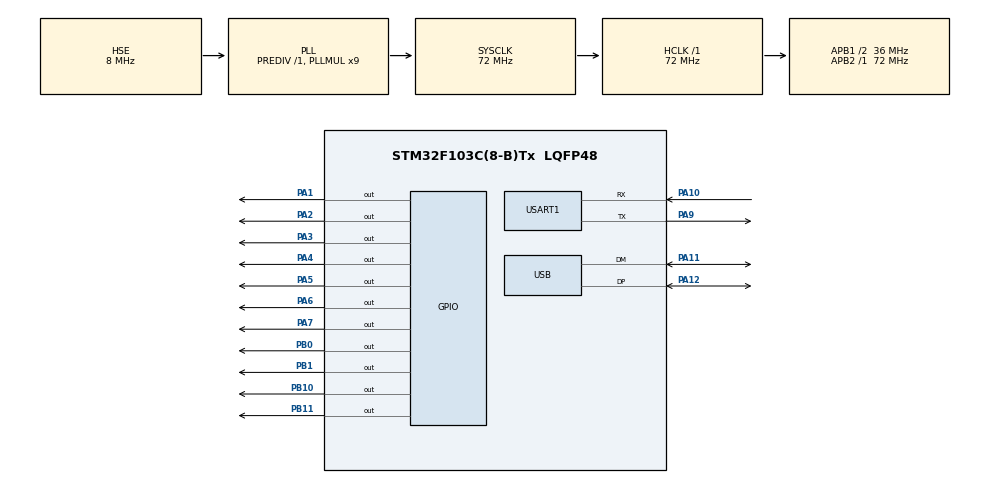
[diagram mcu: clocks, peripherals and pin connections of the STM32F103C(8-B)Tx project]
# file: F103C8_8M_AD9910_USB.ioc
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Mcu.Family=STM32F1
Mcu.Name=STM32F103C(8-B)Tx
Mcu.Package=LQFP48
NVIC.PriorityGroup=NVIC_PRIORITYGROUP_4
NVIC.USART1_IRQn=true\:0\:0\:false\:false\:true\:true\:true
NVIC.USB_LP_CAN1_RX0_IRQn=true\:0\:0\:false\:false\:true\:false\:true
PA1.GPIO_ModeDefaultOutputPP=GPIO_MODE_OUTPUT_PP
PA1.GPIO_PuPd=GPIO_PULLUP
PA1.GPIO_Speed=GPIO_SPEED_FREQ_HIGH
PA1.PinState=GPIO_PIN_RESET
PA1.Signal=GPIO_Output
PA10.Mode=Asynchronous
PA10.Signal=USART1_RX
PA11.Mode=Device
PA11.Signal=USB_DM
PA12.Mode=Device
PA12.Signal=USB_DP
PA13.Mode=Serial_Wire
PA13.Signal=SYS_JTMS-SWDIO
PA14.Mode=Serial_Wire
PA14.Signal=SYS_JTCK-SWCLK
PA2.GPIO_ModeDefaultOutputPP=GPIO_MODE_OUTPUT_PP
PA2.GPIO_PuPd=GPIO_PULLUP
PA2.GPIO_Speed=GPIO_SPEED_FREQ_HIGH
PA2.PinState=GPIO_PIN_RESET
PA2.Signal=GPIO_Output
PA3.GPIO_ModeDefaultOutputPP=GPIO_MODE_OUTPUT_PP
PA3.GPIO_PuPd=GPIO_PULLUP
PA3.GPIO_Speed=GPIO_SPEED_FREQ_HIGH
PA3.PinState=GPIO_PIN_RESET
PA3.Signal=GPIO_Output
PA4.GPIO_ModeDefaultOutputPP=GPIO_MODE_OUTPUT_PP
PA4.GPIO_PuPd=GPIO_PULLUP
PA4.GPIO_Speed=GPIO_SPEED_FREQ_HIGH
PA4.PinState=GPIO_PIN_RESET
PA4.Signal=GPIO_Output
PA5.GPIO_ModeDefaultOutputPP=GPIO_MODE_OUTPUT_PP
PA5.GPIO_PuPd=GPIO_PULLUP
PA5.GPIO_Speed=GPIO_SPEED_FREQ_HIGH
PA5.PinState=GPIO_PIN_RESET
PA5.Signal=GPIO_Output
PA6.GPIO_ModeDefaultOutputPP=GPIO_MODE_OUTPUT_PP
PA6.GPIO_PuPd=GPIO_PULLUP
PA6.GPIO_Speed=GPIO_SPEED_FREQ_HIGH
PA6.PinState=GPIO_PIN_RESET
PA6.Signal=GPIO_Output
PA7.GPIO_ModeDefaultOutputPP=GPIO_MODE_OUTPUT_PP
PA7.GPIO_PuPd=GPIO_PULLUP
PA7.GPIO_Speed=GPIO_SPEED_FREQ_HIGH
PA7.PinState=GPIO_PIN_RESET
PA7.Signal=GPIO_Output
PA9.Mode=Asynchronous
PA9.Signal=USART1_TX
PB0.GPIO_ModeDefaultOutputPP=GPIO_MODE_OUTPUT_PP
PB0.GPIO_PuPd=GPIO_PULLUP
PB0.GPIO_Speed=GPIO_SPEED_FREQ_HIGH
PB0.PinState=GPIO_PIN_RESET
PB0.Signal=GPIO_Output
PB1.GPIO_ModeDefaultOutputPP=GPIO_MODE_OUTPUT_PP
PB1.GPIO_PuPd=GPIO_PULLUP
PB1.GPIO_Speed=GPIO_SPEED_FREQ_HIGH
PB1.PinState=GPIO_PIN_RESET
PB1.Signal=GPIO_Output
PB10.Signal=GPIO_Output
PB11.Signal=GPIO_Output
PC14-OSC32_IN.Mode=LSE-External-Oscillator
PC14-OSC32_IN.Signal=RCC_OSC32_IN
PC15-OSC32_OUT.Mode=LSE-External-Oscillator
PC15-OSC32_OUT.Signal=RCC_OSC32_OUT
PD0-OSC_IN.Mode=HSE-External-Oscillator
PD0-OSC_IN.Signal=RCC_OSC_IN
PD1-OSC_OUT.Mode=HSE-External-Oscillator
PD1-OSC_OUT.Signal=RCC_OSC_OUT
ProjectManager.HeapSize=0x250
ProjectManager.StackSize=0x450
ProjectManager.TargetToolchain=MDK-ARM V5.27
RCC.AHBFreq_Value=72000000
RCC.APB1CLKDivider=RCC_HCLK_DIV2
RCC.APB1Freq_Value=36000000
RCC.APB1TimFreq_Value=72000000
RCC.APB2Freq_Value=72000000
RCC.APB2TimFreq_Value=72000000
RCC.HCLKFreq_Value=72000000
RCC.PLLMUL=RCC_PLL_MUL9
RCC.PLLSourceVirtual=RCC_PLLSOURCE_HSE
RCC.SYSCLKFreq_VALUE=72000000
RCC.SYSCLKSource=RCC_SYSCLKSOURCE_PLLCLK
RCC.USBFreq_Value=48000000
RCC.USBPrescaler=RCC_USBCLKSOURCE_PLL_DIV1_5
USART1.VirtualMode=VM_ASYNC
USB_DEVICE.CLASS_NAME_FS=CDC
USB_DEVICE.VirtualMode=Cdc
USB_DEVICE.VirtualModeFS=Cdc_FS
VP_USB_DEVICE_VS_USB_DEVICE_CDC_FS.Mode=CDC_FS
board=custom

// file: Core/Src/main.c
/* USER CODE BEGIN Header */
/**
  ******************************************************************************
  * @file           : main.c
  * @brief          : Main program body
  ******************************************************************************
  * @attention
  *
  * <h2><center>&copy; Copyright (c) 2021 STMicroelectronics.
  * All rights reserved.</center></h2>
  *
  * This software component is licensed by ST under Ultimate Liberty license
  * SLA0044, the "License"; You may not use this file except in compliance with
  * the License. You may obtain a copy of the License at:
  *                             www.st.com/SLA0044
  *
  ******************************************************************************
  */
/* USER CODE END Header */
#include "main.h"
#include "usart.h"
#include "usb_device.h"
#include "gpio.h"

/* USER CODE BEGIN Includes */
#include "ad9910.h"
#include "usbd_cdc_if.h"
/* USER CODE END Includes */

/* USER CODE BEGIN PV */
MyUARTHandle uart1;
uint8_t uartBuf1[100];
static char help[][60] =
{
  "AD9910 Test\r\n",
  "This is ",
  " interface\r\n",
  "fXXX: set frequency to XXX Hz\r\n",
  "aXXX: set amplitude to XXX(1~649)\r\n",
  "r: reset\r\n",
  "h: help\r\n",
  "append \\r\\n at every end of command\r\n",
};
/* USER CODE END PV */

void SystemClock_Config(void);

/* USER CODE BEGIN 0 */
void showhelp(void)
{
  printf(help[0]);
  printf(help[1]);
  printf("UART");
  printf(help[2]);
  printf(help[3]);
  printf(help[4]);
  printf(help[5]);
  printf(help[6]);
  printf(help[7]);

  while(CDC_Transmit_FS(help[0], strlen(help[0])) == USBD_BUSY)
    ;
  while(CDC_Transmit_FS(help[1], strlen(help[1])) == USBD_BUSY)
    ;
  while(CDC_Transmit_FS("USB_CDC" , 7) == USBD_BUSY)
    ;
  while(CDC_Transmit_FS(help[2], strlen(help[2])) == USBD_BUSY)
    ;
  while(CDC_Transmit_FS(help[3], strlen(help[3])) == USBD_BUSY)
    ;
  while(CDC_Transmit_FS(help[4], strlen(help[4])) == USBD_BUSY)
    ;
  while(CDC_Transmit_FS(help[5], strlen(help[5])) == USBD_BUSY)
    ;
  while(CDC_Transmit_FS(help[6], strlen(help[6])) == USBD_BUSY)
    ;
  while(CDC_Transmit_FS(help[7], strlen(help[7])) == USBD_BUSY)
    ;
}
/* USER CODE END 0 */

int main(void)
{
  /* USER CODE BEGIN 1 */
  uint8_t str[40];
  uint32_t len;
  int32_t val;
  /* USER CODE END 1 */

  /* MCU Configuration--------------------------------------------------------*/

  /* Reset of all peripherals, Initializes the Flash interface and the Systick. */
  HAL_Init();

  /* Configure the system clock */
  SystemClock_Config();

  /* Initialize all configured peripherals */
  MX_GPIO_Init();
  MX_USART1_UART_Init();
  MX_USB_DEVICE_Init();
  /* USER CODE BEGIN 2 */
  Delay_Init(72);
  MyUART_Init(&uart1, USART1, uartBuf1, 100);
  Init_ad9910();
  Freq_convert(5000);
  Amp_convert(649);
  Delay_ms(1000);

  showhelp();

  /* USER CODE END 2 */

  /* Infinite loop */
  while (1)
  {

    /* USER CODE BEGIN 3 */
    Delay_ms(100);
    len = MyUART_ReadLine(&uart1, str);
    if(len)
    {
      str[len] = '\0';
      if(str[0] == 'f')
      {
        val = myatoi(str + 1);
        Freq_convert(val);
        sprintf(str, "Frequency set to %d\r\n", val);
        printf(str);
        while(CDC_Transmit_FS(str, strlen(str)) == USBD_BUSY)
          ;
      }
      else if(str[0] == 'a')
      {
        val = myatoi(str + 1);
        if(val < 1)
          val = 1;
        if(val > 649)
          val = 649;
        Amp_convert(val);
        sprintf(str, "Amplitude set to %d\r\n", val);
        printf(str);
        while(CDC_Transmit_FS(str, strlen(str)) == USBD_BUSY)
          ;
      }
      else if(str[0] == 'r')
      {
        Init_ad9910();
        strcpy(str, "Reseted\r\n");
        printf(str);
        while(CDC_Transmit_FS(str, strlen(str)) == USBD_BUSY)
          ;
      }
      else if(str[0] == 'h')
        showhelp();
    }
  }
  /* USER CODE END 3 */
}

void SystemClock_Config(void)
{
  RCC_OscInitTypeDef RCC_OscInitStruct = {0};
  RCC_ClkInitTypeDef RCC_ClkInitStruct = {0};
  RCC_PeriphCLKInitTypeDef PeriphClkInit = {0};

  /** Initializes the RCC Oscillators according to the specified parameters
  * in the RCC_OscInitTypeDef structure.
  */
  RCC_OscInitStruct.OscillatorType = RCC_OSCILLATORTYPE_HSE;
  RCC_OscInitStruct.HSEState = RCC_HSE_ON;
  RCC_OscInitStruct.HSEPredivValue = RCC_HSE_PREDIV_DIV1;
  RCC_OscInitStruct.HSIState = RCC_HSI_ON;
  RCC_OscInitStruct.PLL.PLLState = RCC_PLL_ON;
  RCC_OscInitStruct.PLL.PLLSource = RCC_PLLSOURCE_HSE;
  RCC_OscInitStruct.PLL.PLLMUL = RCC_PLL_MUL9;
  if (HAL_RCC_OscConfig(&RCC_OscInitStruct) != HAL_OK)
  {
    Error_Handler();
  }
  /** Initializes the CPU, AHB and APB buses clocks
  */
  RCC_ClkInitStruct.ClockType = RCC_CLOCKTYPE_HCLK|RCC_CLOCKTYPE_SYSCLK
                              |RCC_CLOCKTYPE_PCLK1|RCC_CLOCKTYPE_PCLK2;
  RCC_ClkInitStruct.SYSCLKSource = RCC_SYSCLKSOURCE_PLLCLK;
  RCC_ClkInitStruct.AHBCLKDivider = RCC_SYSCLK_DIV1;
  RCC_ClkInitStruct.APB1CLKDivider = RCC_HCLK_DIV2;
  RCC_ClkInitStruct.APB2CLKDivider = RCC_HCLK_DIV1;

  if (HAL_RCC_ClockConfig(&RCC_ClkInitStruct, FLASH_LATENCY_2) != HAL_OK)
  {
    Error_Handler();
  }
  PeriphClkInit.PeriphClockSelection = RCC_PERIPHCLK_USB;
  PeriphClkInit.UsbClockSelection = RCC_USBCLKSOURCE_PLL_DIV1_5;
  if (HAL_RCCEx_PeriphCLKConfig(&PeriphClkInit) != HAL_OK)
  {
    Error_Handler();
  }
}

void Error_Handler(void)
{
  __disable_irq();
  while (1)
  {
  }
}

/************************ (C) COPYRIGHT STMicroelectronics *****END OF FILE****/
